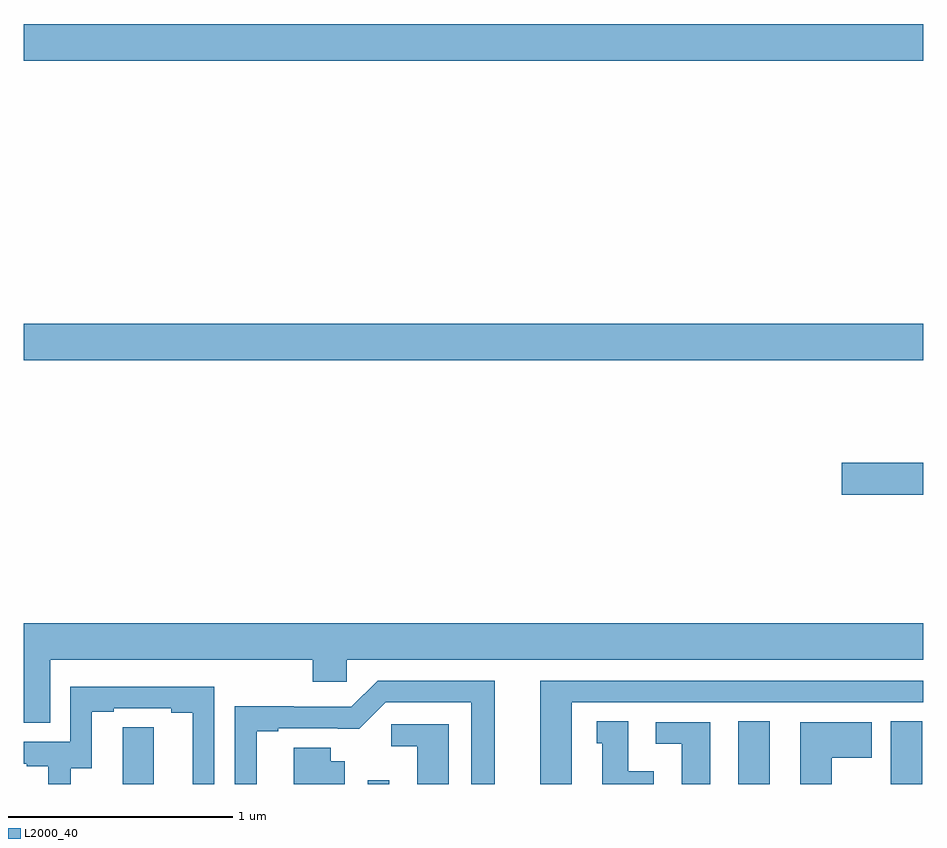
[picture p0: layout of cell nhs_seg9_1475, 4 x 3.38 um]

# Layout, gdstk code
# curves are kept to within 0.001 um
import gdstk
lib = gdstk.Library(unit=1e-6, precision=1e-09)
def R(c, l, rs):  # rectangles x0, y0, x1, y1
    for r in rs: c.add(gdstk.rectangle(r[:2], r[2:], *l))
def P(c, l, *ps):  # polygons
    for p in ps: c.add(gdstk.Polygon(p, *l))
L2000_40 = (2000, 40)

nhs_seg9_1475 = lib.new_cell('nhs_seg9_1475')
R(nhs_seg9_1475, L2000_40, [(194.529,1230.5,194.625,1230.517), (196.178,1230.5,196.318,1230.779), (196.638,1231.787,197,1231.929), (193,1232.384,197,1232.548), (193,1233.716,197,1233.88)])
P(nhs_seg9_1475, L2000_40, [(193.117,1231.052),(194.285,1231.052),(194.285,1230.954),(194.436,1230.954),(194.436,1231.052),(197,1231.052),(197,1231.216),(193,1231.216),(193,1230.772),(193.117,1230.772)],
  [(194.035,1230.735),(194.131,1230.735),(194.131,1230.747),(194.492,1230.746),(194.61,1230.864),(194.99,1230.864),(194.99,1230.5),(195.094,1230.5),(195.094,1230.96),(194.574,1230.96),(194.457,1230.843),(194.201,1230.843),(194.201,1230.845),(193.938,1230.845),(193.938,1230.5),(194.035,1230.5)],
  [(195.436,1230.864),(197,1230.864),(197,1230.96),(195.296,1230.96),(195.296,1230.5),(195.436,1230.5)],
  [(193.209,1230.571),(193.303,1230.571),(193.303,1230.822),(193.399,1230.822),(193.399,1230.837),(193.655,1230.837),(193.655,1230.817),(193.751,1230.817),(193.751,1230.5),(193.848,1230.5),(193.848,1230.933),(193.206,1230.933),(193.206,1230.687),(193,1230.687),(193,1230.591),(193.013,1230.591),(193.013,1230.579),(193.109,1230.579),(193.109,1230.5),(193.209,1230.5)],
  [(195.802,1230.556),(195.688,1230.556),(195.688,1230.779),(195.548,1230.779),(195.548,1230.681),(195.572,1230.681),(195.572,1230.5),(195.802,1230.5)],
  [(196.996,1230.668),(196.995,1230.668),(196.995,1230.779),(196.856,1230.779),(196.856,1230.5),(196.996,1230.5)],
  [(196.594,1230.616),(196.771,1230.616),(196.771,1230.775),(196.454,1230.775),(196.454,1230.5),(196.594,1230.5)],
  [(196.054,1230.774),(195.81,1230.774),(195.81,1230.678),(195.926,1230.678),(195.926,1230.5),(196.054,1230.5)],
  [(194.89,1230.765),(194.634,1230.765),(194.634,1230.668),(194.75,1230.668),(194.75,1230.5),(194.89,1230.5)],
  [(193.579,1230.752),(193.44,1230.752),(193.44,1230.644),(193.439,1230.644),(193.439,1230.5),(193.579,1230.5)],
  [(194.428,1230.601),(194.365,1230.601),(194.365,1230.662),(194.201,1230.662),(194.201,1230.5),(194.428,1230.5)])

lib.write_gds('nhs_seg9_1475.gds')
